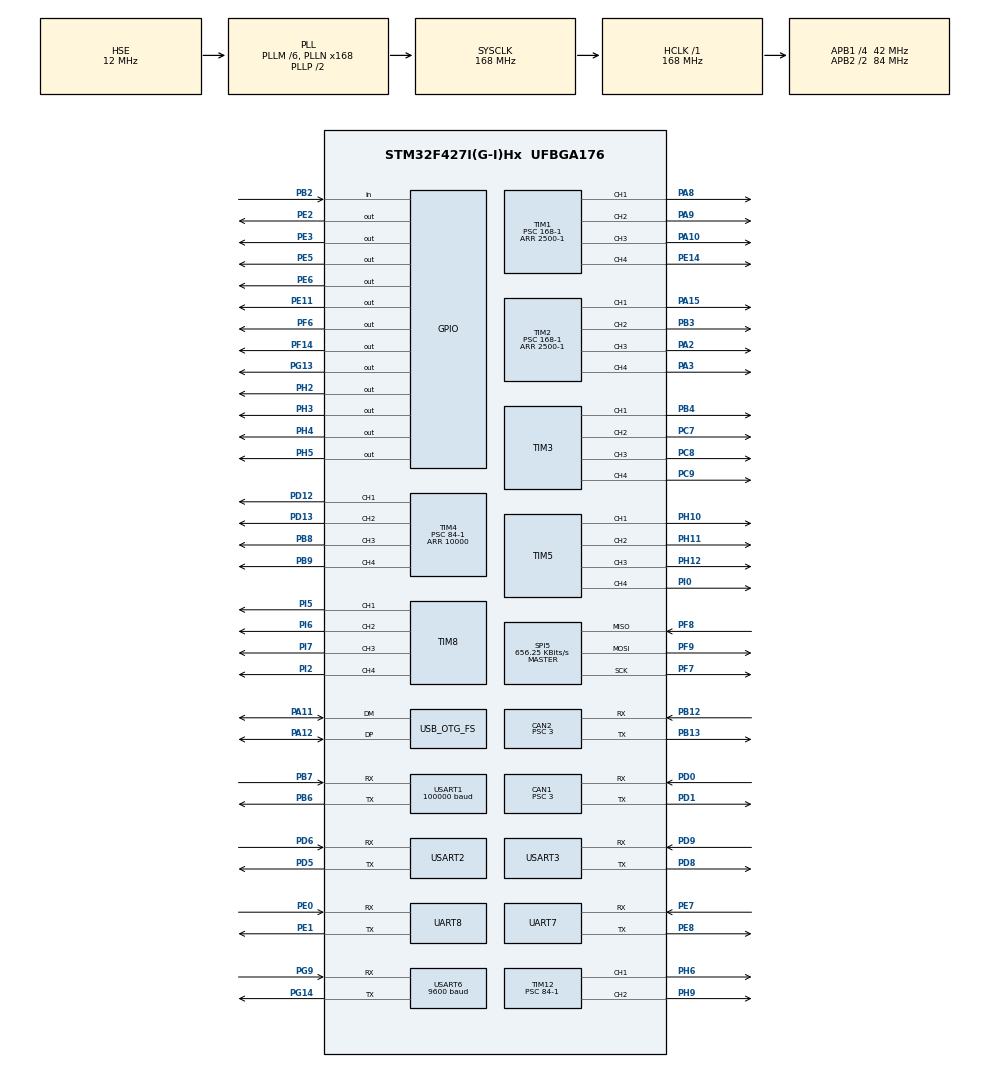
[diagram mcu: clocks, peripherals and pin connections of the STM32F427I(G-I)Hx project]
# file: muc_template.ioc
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CAN1.BS1=CAN_BS1_9TQ
CAN1.BS2=CAN_BS2_4TQ
CAN1.CalculateTimeQuantum=71.42857142857143
CAN1.Prescaler=3
CAN2.BS1=CAN_BS1_9TQ
CAN2.BS2=CAN_BS2_4TQ
CAN2.CalculateTimeQuantum=71.42857142857143
CAN2.Prescaler=3
Dma.Request0=USART1_RX
Dma.Request1=USART2_RX
Dma.Request2=USART3_RX
Dma.Request3=USART3_TX
Dma.Request4=USART6_RX
Dma.USART1_RX.0.Direction=DMA_PERIPH_TO_MEMORY
Dma.USART1_RX.0.FIFOMode=DMA_FIFOMODE_DISABLE
Dma.USART1_RX.0.Instance=DMA2_Stream2
Dma.USART1_RX.0.MemDataAlignment=DMA_MDATAALIGN_BYTE
Dma.USART1_RX.0.MemInc=DMA_MINC_ENABLE
Dma.USART1_RX.0.Mode=DMA_NORMAL
Dma.USART1_RX.0.PeriphDataAlignment=DMA_PDATAALIGN_BYTE
Dma.USART1_RX.0.PeriphInc=DMA_PINC_DISABLE
Dma.USART1_RX.0.Priority=DMA_PRIORITY_LOW
Dma.USART2_RX.1.Direction=DMA_PERIPH_TO_MEMORY
Dma.USART2_RX.1.FIFOMode=DMA_FIFOMODE_DISABLE
Dma.USART2_RX.1.Instance=DMA1_Stream5
Dma.USART2_RX.1.MemDataAlignment=DMA_MDATAALIGN_BYTE
Dma.USART2_RX.1.MemInc=DMA_MINC_ENABLE
Dma.USART2_RX.1.Mode=DMA_NORMAL
Dma.USART2_RX.1.PeriphDataAlignment=DMA_PDATAALIGN_BYTE
Dma.USART2_RX.1.PeriphInc=DMA_PINC_DISABLE
Dma.USART2_RX.1.Priority=DMA_PRIORITY_LOW
Dma.USART3_RX.2.Direction=DMA_PERIPH_TO_MEMORY
Dma.USART3_RX.2.FIFOMode=DMA_FIFOMODE_DISABLE
Dma.USART3_RX.2.Instance=DMA1_Stream1
Dma.USART3_RX.2.MemDataAlignment=DMA_MDATAALIGN_BYTE
Dma.USART3_RX.2.MemInc=DMA_MINC_ENABLE
Dma.USART3_RX.2.Mode=DMA_NORMAL
Dma.USART3_RX.2.PeriphDataAlignment=DMA_PDATAALIGN_BYTE
Dma.USART3_RX.2.PeriphInc=DMA_PINC_DISABLE
Dma.USART3_RX.2.Priority=DMA_PRIORITY_LOW
Dma.USART3_TX.3.Direction=DMA_MEMORY_TO_PERIPH
Dma.USART3_TX.3.FIFOMode=DMA_FIFOMODE_DISABLE
Dma.USART3_TX.3.Instance=DMA1_Stream4
Dma.USART3_TX.3.MemDataAlignment=DMA_MDATAALIGN_BYTE
Dma.USART3_TX.3.MemInc=DMA_MINC_ENABLE
Dma.USART3_TX.3.Mode=DMA_NORMAL
Dma.USART3_TX.3.PeriphDataAlignment=DMA_PDATAALIGN_BYTE
Dma.USART3_TX.3.PeriphInc=DMA_PINC_DISABLE
Dma.USART3_TX.3.Priority=DMA_PRIORITY_LOW
Dma.USART6_RX.4.Direction=DMA_PERIPH_TO_MEMORY
Dma.USART6_RX.4.FIFOMode=DMA_FIFOMODE_DISABLE
Dma.USART6_RX.4.Instance=DMA2_Stream1
Dma.USART6_RX.4.MemDataAlignment=DMA_MDATAALIGN_BYTE
Dma.USART6_RX.4.MemInc=DMA_MINC_ENABLE
Dma.USART6_RX.4.Mode=DMA_NORMAL
Dma.USART6_RX.4.PeriphDataAlignment=DMA_PDATAALIGN_BYTE
Dma.USART6_RX.4.PeriphInc=DMA_PINC_DISABLE
Dma.USART6_RX.4.Priority=DMA_PRIORITY_LOW
Mcu.Family=STM32F4
Mcu.Name=STM32F427I(G-I)Hx
Mcu.Package=UFBGA176
NVIC.CAN1_RX0_IRQn=true\:0\:0\:false\:false\:true\:true\:true
NVIC.CAN2_RX1_IRQn=true\:0\:0\:false\:false\:true\:true\:true
NVIC.DMA1_Stream1_IRQn=true\:0\:0\:false\:false\:true\:false\:true
NVIC.DMA1_Stream4_IRQn=true\:0\:0\:false\:false\:true\:false\:true
NVIC.DMA1_Stream5_IRQn=true\:0\:0\:false\:false\:true\:false\:true
NVIC.DMA2_Stream1_IRQn=true\:0\:0\:false\:false\:true\:false\:true
NVIC.DMA2_Stream2_IRQn=true\:0\:0\:false\:false\:true\:false\:true
NVIC.PriorityGroup=NVIC_PRIORITYGROUP_4
NVIC.TIM6_DAC_IRQn=true\:0\:0\:false\:false\:true\:true\:true
NVIC.USART1_IRQn=true\:0\:0\:false\:false\:true\:true\:true
NVIC.USART2_IRQn=true\:0\:0\:false\:false\:true\:true\:true
NVIC.USART3_IRQn=true\:0\:0\:false\:false\:true\:true\:true
NVIC.USART6_IRQn=true\:0\:0\:false\:false\:true\:true\:true
PA10.Signal=S_TIM1_CH3
PA11.Mode=Device_Only
PA11.Signal=USB_OTG_FS_DM
PA12.GPIO_Mode=GPIO_MODE_AF_PP
PA12.GPIO_PuPd=GPIO_NOPULL
PA12.GPIO_Speed=GPIO_SPEED_FREQ_VERY_HIGH
PA12.Mode=Device_Only
PA12.Signal=USB_OTG_FS_DP
PA13.Mode=Serial_Wire
PA13.Signal=SYS_JTMS-SWDIO
PA14.Mode=Serial_Wire
PA14.Signal=SYS_JTCK-SWCLK
PA15.Signal=S_TIM2_CH1_ETR
PA2.Signal=S_TIM2_CH3
PA3.Signal=S_TIM2_CH4
PA8.Signal=S_TIM1_CH1
PA9.Signal=S_TIM1_CH2
PB12.Mode=Slave
PB12.Signal=CAN2_RX
PB13.Mode=Slave
PB13.Signal=CAN2_TX
PB2/BOOT1.GPIO_Mode=GPIO_MODE_INPUT
PB2/BOOT1.GPIO_PuPd=GPIO_NOPULL
PB2/BOOT1.Signal=GPIO_Input
PB3.Signal=S_TIM2_CH2
PB4.Signal=S_TIM3_CH1
PB6.Mode=Multiprocessor_communication
PB6.Signal=USART1_TX
PB7.GPIO_Mode=GPIO_MODE_AF_PP
PB7.GPIO_PuPd=GPIO_NOPULL
PB7.GPIO_Speed=GPIO_SPEED_FREQ_VERY_HIGH
PB7.Mode=Multiprocessor_communication
PB7.Signal=USART1_RX
PB8.Signal=S_TIM4_CH3
PB9.Signal=S_TIM4_CH4
PC7.Signal=S_TIM3_CH2
PC8.Signal=S_TIM3_CH3
PC9.Signal=S_TIM3_CH4
PD0.Mode=Master
PD0.Signal=CAN1_RX
PD1.Mode=Master
PD1.Signal=CAN1_TX
PD12.Signal=S_TIM4_CH1
PD13.Signal=S_TIM4_CH2
PD5.Mode=Multiprocessor_communication
PD5.Signal=USART2_TX
PD6.Mode=Multiprocessor_communication
PD6.Signal=USART2_RX
PD8.Mode=Multiprocessor_communication
PD8.Signal=USART3_TX
PD9.Mode=Multiprocessor_communication
PD9.Signal=USART3_RX
PE0.Mode=Multiprocessor_communication
PE0.Signal=UART8_RX
PE1.Mode=Multiprocessor_communication
PE1.Signal=UART8_TX
PE11.GPIO_ModeDefaultOutputPP=GPIO_MODE_OUTPUT_PP
PE11.GPIO_PuPd=GPIO_NOPULL
PE11.GPIO_Speed=GPIO_SPEED_FREQ_LOW
PE11.PinState=GPIO_PIN_RESET
PE11.Signal=GPIO_Output
PE14.Signal=S_TIM1_CH4
PE2.Signal=GPIO_Output
PE3.Signal=GPIO_Output
PE5.GPIO_ModeDefaultOutputPP=GPIO_MODE_OUTPUT_PP
PE5.GPIO_PuPd=GPIO_NOPULL
PE5.GPIO_Speed=GPIO_SPEED_FREQ_LOW
PE5.PinState=GPIO_PIN_RESET
PE5.Signal=GPIO_Output
PE6.GPIO_ModeDefaultOutputPP=GPIO_MODE_OUTPUT_PP
PE6.GPIO_PuPd=GPIO_NOPULL
PE6.GPIO_Speed=GPIO_SPEED_FREQ_LOW
PE6.PinState=GPIO_PIN_RESET
PE6.Signal=GPIO_Output
PE7.Mode=Multiprocessor_communication
PE7.Signal=UART7_RX
PE8.Mode=Multiprocessor_communication
PE8.Signal=UART7_TX
PF14.GPIO_ModeDefaultOutputPP=GPIO_MODE_OUTPUT_PP
PF14.GPIO_PuPd=GPIO_NOPULL
PF14.GPIO_Speed=GPIO_SPEED_FREQ_LOW
PF14.PinState=GPIO_PIN_RESET
PF14.Signal=GPIO_Output
PF6.Signal=GPIO_Output
PF7.Mode=Full_Duplex_Master
PF7.Signal=SPI5_SCK
PF8.Mode=Full_Duplex_Master
PF8.Signal=SPI5_MISO
PF9.Mode=Full_Duplex_Master
PF9.Signal=SPI5_MOSI
PG13.GPIO_ModeDefaultOutputPP=GPIO_MODE_OUTPUT_PP
PG13.GPIO_PuPd=GPIO_NOPULL
PG13.GPIO_Speed=GPIO_SPEED_FREQ_LOW
PG13.PinState=GPIO_PIN_RESET
PG13.Signal=GPIO_Output
PG14.Mode=Multiprocessor_communication
PG14.Signal=USART6_TX
PG9.Mode=Multiprocessor_communication
PG9.Signal=USART6_RX
PH0/OSC_IN.Mode=HSE-External-Oscillator
PH0/OSC_IN.Signal=RCC_OSC_IN
PH1/OSC_OUT.Mode=HSE-External-Oscillator
PH1/OSC_OUT.Signal=RCC_OSC_OUT
PH10.Signal=S_TIM5_CH1
PH11.Signal=S_TIM5_CH2
PH12.Signal=S_TIM5_CH3
PH2.GPIO_ModeDefaultOutputPP=GPIO_MODE_OUTPUT_PP
PH2.GPIO_PuPd=GPIO_NOPULL
PH2.GPIO_Speed=GPIO_SPEED_FREQ_LOW
PH2.PinState=GPIO_PIN_RESET
PH2.Signal=GPIO_Output
PH3.GPIO_ModeDefaultOutputPP=GPIO_MODE_OUTPUT_PP
PH3.GPIO_PuPd=GPIO_NOPULL
PH3.GPIO_Speed=GPIO_SPEED_FREQ_LOW
PH3.PinState=GPIO_PIN_RESET
PH3.Signal=GPIO_Output
PH4.GPIO_ModeDefaultOutputPP=GPIO_MODE_OUTPUT_PP
PH4.GPIO_PuPd=GPIO_NOPULL
PH4.GPIO_Speed=GPIO_SPEED_FREQ_LOW
PH4.PinState=GPIO_PIN_RESET
PH4.Signal=GPIO_Output
PH5.GPIO_ModeDefaultOutputPP=GPIO_MODE_OUTPUT_PP
PH5.GPIO_PuPd=GPIO_NOPULL
PH5.GPIO_Speed=GPIO_SPEED_FREQ_LOW
PH5.PinState=GPIO_PIN_RESET
PH5.Signal=GPIO_Output
PH6.GPIO_ModeDefaultPP=GPIO_MODE_AF_PP
PH6.GPIO_PuPd=GPIO_NOPULL
PH6.GPIO_Speed=GPIO_SPEED_FREQ_LOW
PH6.Signal=S_TIM12_CH1
PH9.Signal=S_TIM12_CH2
PI0.Signal=S_TIM5_CH4
PI2.Signal=S_TIM8_CH4
PI5.Signal=S_TIM8_CH1
PI6.Signal=S_TIM8_CH2
PI7.Signal=S_TIM8_CH3
ProjectManager.HeapSize=0x200
ProjectManager.StackSize=0x400
ProjectManager.TargetToolchain=MDK-ARM V5
RCC.48MHZClocksFreq_Value=48000000
RCC.AHBFreq_Value=168000000
RCC.APB1CLKDivider=RCC_HCLK_DIV4
RCC.APB1Freq_Value=42000000
RCC.APB1TimFreq_Value=84000000
RCC.APB2CLKDivider=RCC_HCLK_DIV2
RCC.APB2Freq_Value=84000000
RCC.APB2TimFreq_Value=168000000
RCC.CortexFreq_Value=168000000
RCC.HCLKFreq_Value=168000000
RCC.HSE_VALUE=12000000
RCC.HSI_VALUE=16000000
RCC.LSE_VALUE=32768
RCC.PLLM=6
RCC.PLLN=168
RCC.PLLQ=7
RCC.SYSCLKFreq_VALUE=168000000
RCC.SYSCLKSource=RCC_SYSCLKSOURCE_PLLCLK
RCC.VCOOutputFreq_Value=336000000
SH.S_TIM12_CH1.0=TIM12_CH1,PWM Generation1 CH1
SH.S_TIM12_CH2.0=TIM12_CH2,PWM Generation2 CH2
SH.S_TIM1_CH1.0=TIM1_CH1,PWM Generation1 CH1
SH.S_TIM1_CH2.0=TIM1_CH2,PWM Generation2 CH2
SH.S_TIM1_CH3.0=TIM1_CH3,PWM Generation3 CH3
SH.S_TIM1_CH4.0=TIM1_CH4,PWM Generation4 CH4
SH.S_TIM2_CH1_ETR.0=TIM2_CH1,PWM Generation1 CH1
SH.S_TIM2_CH2.0=TIM2_CH2,PWM Generation2 CH2
SH.S_TIM2_CH3.0=TIM2_CH3,PWM Generation3 CH3
SH.S_TIM2_CH4.0=TIM2_CH4,PWM Generation4 CH4
SH.S_TIM3_CH1.0=TIM3_CH1,PWM Generation1 CH1
SH.S_TIM3_CH2.0=TIM3_CH2,PWM Generation2 CH2
SH.S_TIM3_CH3.0=TIM3_CH3,PWM Generation3 CH3
SH.S_TIM3_CH4.0=TIM3_CH4,PWM Generation4 CH4
SH.S_TIM4_CH1.0=TIM4_CH1,PWM Generation1 CH1
SH.S_TIM4_CH2.0=TIM4_CH2,PWM Generation2 CH2
SH.S_TIM4_CH3.0=TIM4_CH3,PWM Generation3 CH3
SH.S_TIM4_CH4.0=TIM4_CH4,PWM Generation4 CH4
SH.S_TIM5_CH1.0=TIM5_CH1,PWM Generation1 CH1
SH.S_TIM5_CH2.0=TIM5_CH2,PWM Generation2 CH2
SH.S_TIM5_CH3.0=TIM5_CH3,PWM Generation3 CH3
SH.S_TIM5_CH4.0=TIM5_CH4,PWM Generation4 CH4
SH.S_TIM8_CH1.0=TIM8_CH1,PWM Generation1 CH1
SH.S_TIM8_CH2.0=TIM8_CH2,PWM Generation2 CH2
SH.S_TIM8_CH3.0=TIM8_CH3,PWM Generation3 CH3
SH.S_TIM8_CH4.0=TIM8_CH4,PWM Generation4 CH4
SPI5.BaudRatePrescaler=SPI_BAUDRATEPRESCALER_128
SPI5.CalculateBaudRate=656.25 KBits/s
SPI5.Direction=SPI_DIRECTION_2LINES
SPI5.Mode=SPI_MODE_MASTER
SPI5.VirtualType=VM_MASTER
TIM1.Channel-PWM\ Generation1\ CH1=TIM_CHANNEL_1
TIM1.Channel-PWM\ Generation2\ CH2=TIM_CHANNEL_2
TIM1.Channel-PWM\ Generation3\ CH3=TIM_CHANNEL_3
TIM1.Channel-PWM\ Generation4\ CH4=TIM_CHANNEL_4
TIM1.Period=2500-1
TIM1.Prescaler=168-1
TIM12.Channel-PWM\ Generation1\ CH1=TIM_CHANNEL_1
TIM12.Channel-PWM\ Generation2\ CH2=TIM_CHANNEL_2
TIM12.Period=2500-1
TIM12.Prescaler=84-1
TIM12.Pulse-PWM\ Generation1\ CH1=0
TIM14.ClockDivision=TIM_CLOCKDIVISION_DIV1
TIM14.Period=5000
TIM14.Prescaler=168-1
TIM2.Channel-PWM\ Generation1\ CH1=TIM_CHANNEL_1
TIM2.Channel-PWM\ Generation2\ CH2=TIM_CHANNEL_2
TIM2.Channel-PWM\ Generation3\ CH3=TIM_CHANNEL_3
TIM2.Channel-PWM\ Generation4\ CH4=TIM_CHANNEL_4
TIM2.Period=2500-1
TIM2.Prescaler=168-1
TIM3.Channel-PWM\ Generation1\ CH1=TIM_CHANNEL_1
TIM3.Channel-PWM\ Generation2\ CH2=TIM_CHANNEL_2
TIM3.Channel-PWM\ Generation3\ CH3=TIM_CHANNEL_3
TIM3.Channel-PWM\ Generation4\ CH4=TIM_CHANNEL_4
TIM4.Channel-PWM\ Generation1\ CH1=TIM_CHANNEL_1
TIM4.Channel-PWM\ Generation2\ CH2=TIM_CHANNEL_2
TIM4.Channel-PWM\ Generation3\ CH3=TIM_CHANNEL_3
TIM4.Channel-PWM\ Generation4\ CH4=TIM_CHANNEL_4
TIM4.Period=10000
TIM4.Prescaler=84-1
TIM5.Channel-PWM\ Generation1\ CH1=TIM_CHANNEL_1
TIM5.Channel-PWM\ Generation2\ CH2=TIM_CHANNEL_2
TIM5.Channel-PWM\ Generation3\ CH3=TIM_CHANNEL_3
TIM5.Channel-PWM\ Generation4\ CH4=TIM_CHANNEL_4
TIM6.Period=1000-1
TIM6.Prescaler=84-1
TIM8.Channel-PWM\ Generation1\ CH1=TIM_CHANNEL_1
TIM8.Channel-PWM\ Generation2\ CH2=TIM_CHANNEL_2
TIM8.Channel-PWM\ Generation3\ CH3=TIM_CHANNEL_3
TIM8.Channel-PWM\ Generation4\ CH4=TIM_CHANNEL_4
UART7.VirtualMode=Asynchronous
UART8.VirtualMode=Asynchronous
USART1.BaudRate=100000
USART1.Mode=MODE_RX
USART1.Parity=PARITY_EVEN
USART1.VirtualMode=VM_ASYNC
USART2.VirtualMode=VM_ASYNC
USART3.VirtualMode=VM_ASYNC
USART6.BaudRate=9600
USART6.VirtualMode=VM_ASYNC
USB_OTG_FS.VirtualMode=Device_Only
VP_TIM12_VS_ClockSourceINT.Mode=Internal
VP_TIM14_VS_ClockSourceINT.Mode=Enable_Timer
VP_TIM3_VS_ClockSourceINT.Mode=Internal
VP_TIM4_VS_ClockSourceINT.Mode=Internal
VP_TIM5_VS_ClockSourceINT.Mode=Internal
VP_TIM6_VS_ClockSourceINT.Mode=Enable_Timer
VP_TIM8_VS_ClockSourceINT.Mode=Internal
board=custom

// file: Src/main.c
/* USER CODE BEGIN Header */
/**
  ******************************************************************************
  * @file           : main.c
  * @brief          : Main program body
  ******************************************************************************
  ** This notice applies to any and all portions of this file
  * that are not between comment pairs USER CODE BEGIN and
  * USER CODE END. Other portions of this file, whether
  * inserted by the user or by software development tools
  * are owned by their respective copyright owners.
  *
  * COPYRIGHT(c) 2019 STMicroelectronics
  *
  * Redistribution and use in source and binary forms, with or without modification,
  * are permitted provided that the following conditions are met:
  *   1. Redistributions of source code must retain the above copyright notice,
  *      this list of conditions and the following disclaimer.
  *   2. Redistributions in binary form must reproduce the above copyright notice,
  *      this list of conditions and the following disclaimer in the documentation
  *      and/or other materials provided with the distribution.
  *   3. Neither the name of STMicroelectronics nor the names of its contributors
  *      may be used to endorse or promote products derived from this software
  *      without specific prior written permission.
  *
  * THIS SOFTWARE IS PROVIDED BY THE COPYRIGHT HOLDERS AND CONTRIBUTORS "AS IS"
  * AND ANY EXPRESS OR IMPLIED WARRANTIES, INCLUDING, BUT NOT LIMITED TO, THE
  * IMPLIED WARRANTIES OF MERCHANTABILITY AND FITNESS FOR A PARTICULAR PURPOSE ARE
  * DISCLAIMED. IN NO EVENT SHALL THE COPYRIGHT HOLDER OR CONTRIBUTORS BE LIABLE
  * FOR ANY DIRECT, INDIRECT, INCIDENTAL, SPECIAL, EXEMPLARY, OR CONSEQUENTIAL
  * DAMAGES (INCLUDING, BUT NOT LIMITED TO, PROCUREMENT OF SUBSTITUTE GOODS OR
  * SERVICES; LOSS OF USE, DATA, OR PROFITS; OR BUSINESS INTERRUPTION) HOWEVER
  * CAUSED AND ON ANY THEORY OF LIABILITY, WHETHER IN CONTRACT, STRICT LIABILITY,
  * OR TORT (INCLUDING NEGLIGENCE OR OTHERWISE) ARISING IN ANY WAY OUT OF THE USE
  * OF THIS SOFTWARE, EVEN IF ADVISED OF THE POSSIBILITY OF SUCH DAMAGE.
  *
  ******************************************************************************
  */
/* USER CODE END Header */

#include "main.h"
#include "can.h"
#include "dma.h"
#include "spi.h"
#include "tim.h"
#include "usart.h"
#include "usb_otg.h"
#include "gpio.h"

/* USER CODE BEGIN Includes */
#include "muc_led.h"
#include "muc_timer.h"
#include "muc_remote.h"
#include "muc_hardware_can.h"
#include "muc_main_task.h"
#include "muc_imu.h"
#include "muc_gimbal.h"
#include "muc_chassis.h"
#include "muc_stmflash.h"
#include "muc_test.h"
#include "muc_hardware_beep.h"
#include "muc_referee_system.h"
#include "muc_stir_wheel.h"
#include "muc_shoot_wheel.h"
#include "muc_auto_shoot.h"

/* USER CODE END Includes */

void SystemClock_Config(void);

int main(void)
{

  /* MCU Configuration--------------------------------------------------------*/

  /* Reset of all peripherals, Initializes the Flash interface and the Systick. */

   HAL_Init();

  /* Configure the system clock */
  SystemClock_Config();

  /* Initialize all configured peripherals */
  MX_GPIO_Init();
  MX_DMA_Init();
  MX_TIM1_Init();
  MX_TIM2_Init();
  MX_TIM3_Init();
  MX_TIM4_Init();
  MX_TIM5_Init();
  MX_TIM6_Init();
  MX_TIM8_Init();
  MX_TIM12_Init();
  MX_CAN1_Init();
  MX_CAN2_Init();
  MX_SPI5_Init();
  MX_USART1_UART_Init();
  MX_USART2_UART_Init();
  MX_USART3_UART_Init();
  MX_USART6_UART_Init();
  MX_USB_OTG_FS_PCD_Init();
  MX_UART7_Init();
  MX_UART8_Init();
  MX_TIM14_Init();
  /* USER CODE BEGIN 2 */

  /* CAN 需要在电机初始化之前初始化  否则云台因收不到电机的值而校准失败 */
  /* CAN 1 初始化 */
  CanFilter_Init(&hcan1);

  /* CAN 2 初始化 */
  CanFilter_Init(&hcan2);

  /* Led灯状态初始化 */
  LedStaInit();

  /* 蜂鸣器初始化 */
  BeepInit();

  /* 检测Flash中的参数是否有效 */
  CheckConfigParams();

  /* 遥控器初始化 */
  MucRemoteInit();

  /* IMU 初始化 */
  MucImuInit();

  /* 拨轮电机初始化 */
  MucStirWheelInit();

  /* 摩擦轮初始化 */
  MucShootInit();

  /*弹仓盖初始化*/
  //Magazine_Init();

  /* 云台 初始化 */
  GimbalInit();

  /*自瞄初始化*/
  MucAutoShootInit();

	/*传感器初始化*/
	SensorInit();

  /* 地盘 初始化 */
  MucChassisInit();

  /* 播放启动音乐 */
  Sing_Startup_music();

  /* 启动 * 启动所有的任务进程 */
  TaskAllBeginRun();

//  __set_FAULTMASK(1);
//  NVIC_SystemReset();

  /* USER CODE END 2 */

  /* Infinite loop */
  /* USER CODE BEGIN WHILE */
  while (1)
  {
     GetMpu6500DataLoop();
//	  extern double VisionYawRecive[8];
//     if(mainTaskTimes % 5 == 0)
//		printf("%lf \r\n",VisionYawRecive[3]);
//	  VisionYawRecive[3] = 0;
    /* USER CODE END WHILE */

  }
}

void SystemClock_Config(void)
{
  RCC_OscInitTypeDef RCC_OscInitStruct = {0};
  RCC_ClkInitTypeDef RCC_ClkInitStruct = {0};

  /**Configure the main internal regulator output voltage
  */
  __HAL_RCC_PWR_CLK_ENABLE();
  __HAL_PWR_VOLTAGESCALING_CONFIG(PWR_REGULATOR_VOLTAGE_SCALE1);
  /**Initializes the CPU, AHB and APB busses clocks
  */
  RCC_OscInitStruct.OscillatorType = RCC_OSCILLATORTYPE_HSE;
  RCC_OscInitStruct.HSEState = RCC_HSE_ON;
  RCC_OscInitStruct.PLL.PLLState = RCC_PLL_ON;
  RCC_OscInitStruct.PLL.PLLSource = RCC_PLLSOURCE_HSE;
  RCC_OscInitStruct.PLL.PLLM = 6;
  RCC_OscInitStruct.PLL.PLLN = 168;
  RCC_OscInitStruct.PLL.PLLP = RCC_PLLP_DIV2;
  RCC_OscInitStruct.PLL.PLLQ = 7;
  if (HAL_RCC_OscConfig(&RCC_OscInitStruct) != HAL_OK)
  {
    Error_Handler();
  }
  /**Initializes the CPU, AHB and APB busses clocks
  */
  RCC_ClkInitStruct.ClockType = RCC_CLOCKTYPE_HCLK|RCC_CLOCKTYPE_SYSCLK
                              |RCC_CLOCKTYPE_PCLK1|RCC_CLOCKTYPE_PCLK2;
  RCC_ClkInitStruct.SYSCLKSource = RCC_SYSCLKSOURCE_PLLCLK;
  RCC_ClkInitStruct.AHBCLKDivider = RCC_SYSCLK_DIV1;
  RCC_ClkInitStruct.APB1CLKDivider = RCC_HCLK_DIV4;
  RCC_ClkInitStruct.APB2CLKDivider = RCC_HCLK_DIV2;

  if (HAL_RCC_ClockConfig(&RCC_ClkInitStruct, FLASH_LATENCY_5) != HAL_OK)
  {
    Error_Handler();
  }
}

/* USER CODE BEGIN 4 */

/* 系统重启函数 */
void MucSystemReboot( void )
{
    __set_FAULTMASK(1);
    NVIC_SystemReset();
}

/* USER CODE END 4 */

void Error_Handler(void)
{
}

/************************ (C) COPYRIGHT STMicroelectronics *****END OF FILE****/
